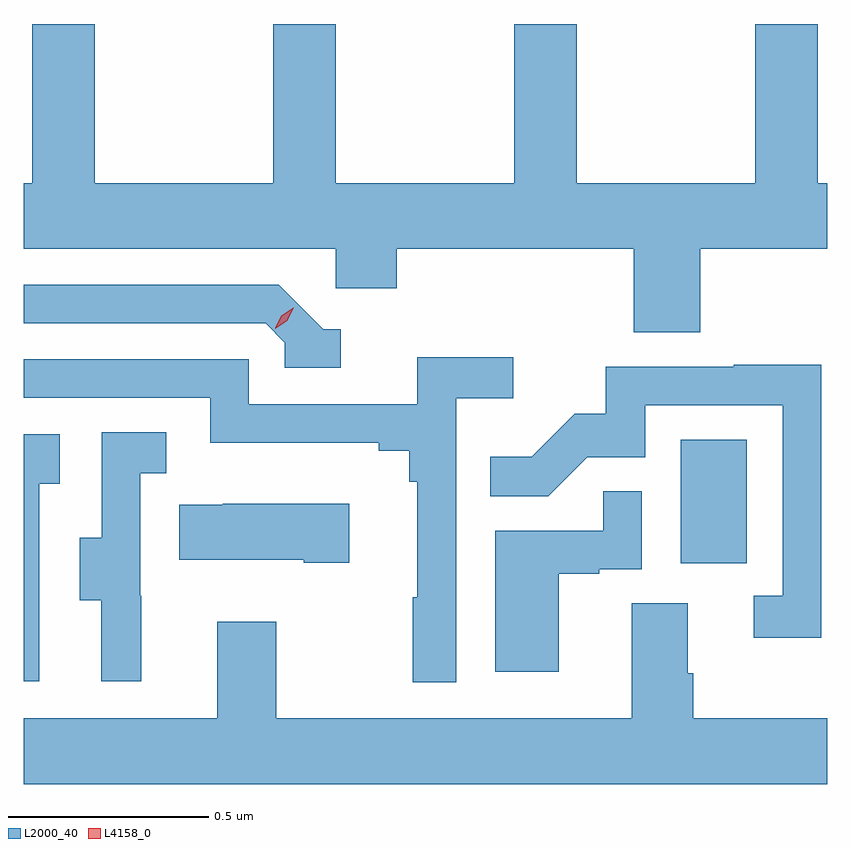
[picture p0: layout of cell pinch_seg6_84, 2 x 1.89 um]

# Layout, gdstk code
import gdstk
lib = gdstk.Library(unit=1e-6, precision=1e-09)
def R(c, l, rs):  # rectangles x0, y0, x1, y1
    for r in rs: c.add(gdstk.rectangle(r[:2], r[2:], *l))
def P(c, l, *ps):  # polygons
    for p in ps: c.add(gdstk.Polygon(p, *l))
L2000_40 = (2000, 40)
L4158_0 = (4158, 0)

pinch_seg6_84 = lib.new_cell('pinch_seg6_84')
R(pinch_seg6_84, L2000_40, [(951.686,931.902,951.85,932.209)])
P(pinch_seg6_84, L2000_40, [(950.826,932.586),(950.978,932.586),(950.978,932.684),(951.569,932.684),(951.569,932.476),(951.734,932.476),(951.734,932.684),(952.05,932.684),(952.05,932.848),(952.026,932.848),(952.026,933.244),(951.871,933.244),(951.871,932.848),(951.426,932.848),(951.426,933.244),(951.271,933.244),(951.271,932.848),(950.826,932.848),(950.826,933.244),(950.671,933.244),(950.671,932.848),(950.226,932.848),(950.226,933.244),(950.071,933.244),(950.071,932.848),(950.05,932.848),(950.05,932.684),(950.826,932.684)],
  [(950.839,932.484),(950.796,932.484),(950.685,932.595),(950.05,932.595),(950.05,932.499),(950.652,932.499),(950.7,932.451),(950.7,932.388),(950.839,932.388)],
  [(951.126,932.312),(951.268,932.312),(951.268,932.414),(951.029,932.414),(951.029,932.298),(950.61,932.298),(950.61,932.409),(950.05,932.409),(950.05,932.313),(950.514,932.313),(950.514,932.201),(950.933,932.201),(950.933,932.182),(951.01,932.182),(951.01,932.105),(951.029,932.105),(951.029,931.817),(951.018,931.817),(951.018,931.605),(951.126,931.605)],
  [(952.035,932.396),(951.817,932.396),(951.817,932.391),(951.499,932.391),(951.499,932.274),(951.422,932.274),(951.315,932.167),(951.211,932.167),(951.211,932.068),(951.355,932.068),(951.453,932.166),(951.597,932.166),(951.597,932.295),(951.939,932.295),(951.939,931.821),(951.867,931.821),(951.867,931.716),(952.035,931.716)],
  [(950.342,931.821),(950.34,931.821),(950.34,932.125),(950.404,932.125),(950.404,932.228),(950.244,932.228),(950.244,931.965),(950.189,931.965),(950.189,931.81),(950.243,931.81),(950.243,931.608),(950.342,931.608)],
  [(950.088,932.099),(950.14,932.099),(950.14,932.223),(950.05,932.223),(950.05,931.608),(950.088,931.608)],
  [(951.382,931.875),(951.482,931.875),(951.482,931.887),(951.588,931.887),(951.588,932.081),(951.493,932.081),(951.493,931.983),(951.224,931.983),(951.224,931.632),(951.382,931.632)],
  [(950.86,932.05),(950.545,932.05),(950.545,932.047),(950.437,932.047),(950.437,931.91),(950.747,931.91),(950.747,931.903),(950.86,931.903)],
  [(952.05,931.516),(951.716,931.516),(951.716,931.628),(951.703,931.628),(951.703,931.802),(951.563,931.802),(951.563,931.516),(950.679,931.516),(950.679,931.756),(950.531,931.756),(950.531,931.516),(950.05,931.516),(950.05,931.352),(952.05,931.352)])
P(pinch_seg6_84, L4158_0, [(950.676,932.485),(950.676,932.486),(950.691,932.518),(950.721,932.538),(950.722,932.538),(950.722,932.538),(950.706,932.505),(950.676,932.485)])

lib.write_gds('pinch_seg6_84.gds')
